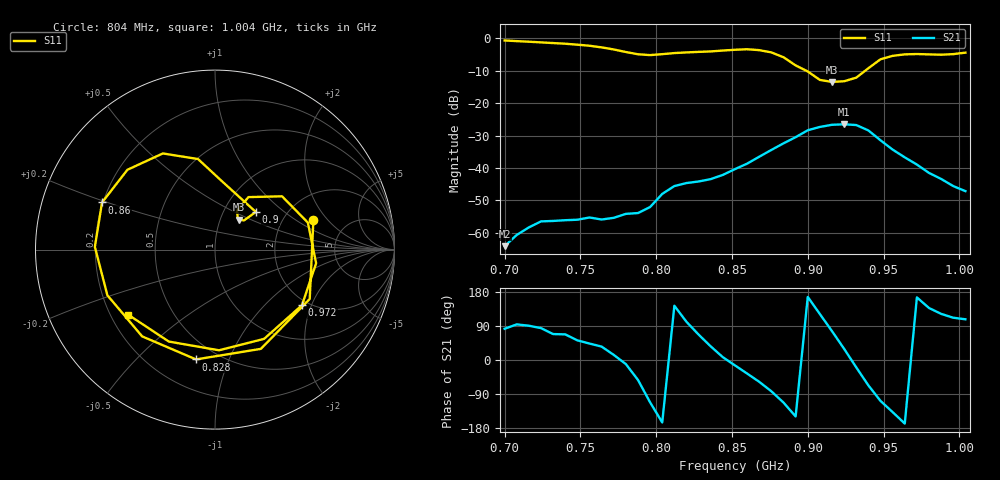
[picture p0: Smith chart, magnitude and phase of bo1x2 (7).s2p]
# Hz S RI R 50
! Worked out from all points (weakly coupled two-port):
!   39 points, 700 MHz to 1.004 GHz, reference 50 ohm
!   highest |S21| = -26.53 dB at 924 MHz (marker M1); lowest = -64.2 dB at 700 MHz (marker M2)
!   lowest |S11| = -13.4 dB at 916 MHz (marker M3), VSWR 1.54, Z = 61.1 + j21.4 ohm
!   |S11| at or under -10 dB: 899.2 MHz to 937.8 MHz (38.61 MHz wide, 4.2 % of centre)
!   S12 and S22 are empty: the file has one direction only
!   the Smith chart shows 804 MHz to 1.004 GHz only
!   S11 on the Smith chart (normalised r, x): 804 MHz: 2.91, +1.42; 828 MHz: 0.38, -0.77; 860 MHz: 0.20, +0.19; 900 MHz: 1.41, +0.65; 972 MHz: 1.85, -1.71; 1.004 GHz: 0.27, -0.31
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7e8  0.7499 0.5541  8.17e-05 0.000611  0 0  0 0
7.24e8  0.8375 -0.2369  0.000151 0.00148  0 0  0 0
7.4e8  0.4597 -0.6912  0.000592 0.00144  0 0  0 0
7.56e8  -0.1844 -0.75  0.00125 0.00118  0 0  0 0
7.72e8  -0.6478 -0.1951  0.00164 0.000395  0 0  0 0
7.8e8  -0.5776 0.2193  0.00191 -0.000366  0 0  0 0
7.88e8  -0.237 0.5186  0.00121 -0.00159  0 0  0 0
7.96e8  0.2334 0.5022  -0.000924 -0.00231  0 0  0 0
8.04e8  0.5482 0.1648  -0.00383 -0.00104  0 0  0 0
8.2e8  0.2555 -0.5531  -0.00108 0.00573  0 0  0 0
8.28e8  -0.1056 -0.6119  0.00241 0.00568  0 0  0 0
8.52e8  -0.6693 0.0151  0.00928 -0.00237  0 0  0 0
8.6e8  -0.6293 0.2627  0.00944 -0.0068  0 0  0 0
8.76e8  -0.2905 0.5358  0.00243 -0.0188  0 0  0 0
9e8  0.2275 0.2098  -0.0371 0.00897  0 0  0 0
9.08e8  0.1612 0.1622  -0.0223 0.0367  0 0  0 0
9.16e8  0.1323 0.1672  0.0111 0.045  0 0  0 0
9.24e8  0.1267 0.1779  0.0411 0.0232  0 0  0 0
9.56e8  0.5174 0.1503  -0.0141 -0.0129  0 0  0 0
9.72e8  0.4845 -0.3099  -0.0109 0.00289  0 0  0 0
9.88e8  0.0225 -0.561  -0.00355 0.00574  0 0  0 0
1.004e9  -0.4828 -0.3632  -0.00131 0.00417  0 0  0 0
